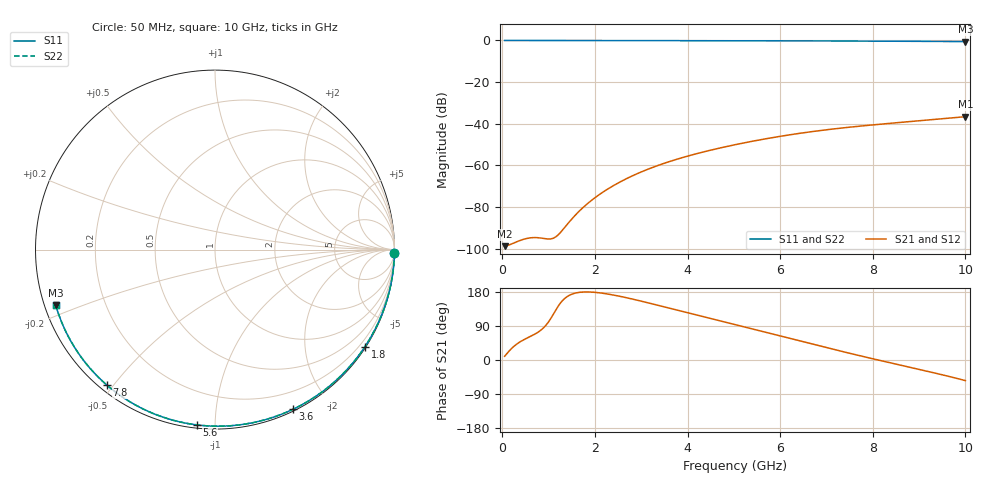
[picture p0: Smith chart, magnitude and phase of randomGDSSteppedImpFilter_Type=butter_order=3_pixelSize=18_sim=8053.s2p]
! freq	dB(S11)	phase(S11)	dB(S12)	phase(S12)
!  dB(S21)	phase(S21)	dB(S22)	phase(S22)
!S-par simulation data
#  GHz  S  DB  R 50
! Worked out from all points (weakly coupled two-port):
!   200 points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, 50 MHz to 10 GHz, reference 50 ohm
!   highest |S21| = -36.59 dB at 10 GHz (marker M1); lowest = -98.7 dB at 50 MHz (marker M2)
!   lowest |S11| = -0.5 dB at 10 GHz (marker M3), VSWR 32.22, Z = 1.6 - j8.45 ohm
!   |S11| at or under -10 dB: nowhere
!   |S22| runs from -0.5 to 0.0 dB; largest |S21 - S12| = 0
!   S11 on the Smith chart (normalised r, x): 50 MHz: open; 1.8 GHz: 0.03, -3.39; 3.6 GHz: 0.02, -1.60; 5.6 GHz: 0.02, -0.90; 7.8 GHz: 0.02, -0.48; 10 GHz: 0.03, -0.17
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0.05  -0.00 -0.9  -98.72 9.8  -98.72 9.8  -0.00 -0.9
0.45  -0.01 -8.4  -95.48 52.6  -95.48 52.6  -0.01 -8.4
0.85  -0.02 -15.7  -94.86 80.5  -94.86 80.5  -0.02 -15.7
1.3  -0.03 -23.9  -91.01 156.8  -91.01 156.8  -0.03 -23.9
1.75  -0.04 -32.0  -80.05 179.4  -80.05 179.4  -0.04 -32.0
1.8  -0.04 -32.9  -79.06 179.6  -79.06 179.6  -0.04 -32.9
2.1  -0.05 -38.2  -73.88 177.2  -73.88 177.2  -0.05 -38.2
2.3  -0.05 -41.8  -70.98 173.6  -70.98 173.6  -0.05 -41.8
2.5  -0.06 -45.3  -68.42 169.0  -68.42 169.0  -0.06 -45.3
2.9  -0.07 -52.2  -64.05 158.2  -64.05 158.2  -0.07 -52.2
3.4  -0.08 -60.7  -59.68 143.2  -59.68 143.2  -0.08 -60.7
3.6  -0.09 -64.0  -58.18 137.0  -58.18 137.0  -0.09 -64.0
4.25  -0.11 -74.7  -54.02 116.9  -54.02 116.9  -0.11 -74.7
5.05  -0.13 -87.4  -49.92 92.6  -49.92 92.6  -0.13 -87.5
5.6  -0.16 -96.0  -47.54 75.8  -47.54 75.8  -0.16 -96.0
6.15  -0.19 -104.3  -45.47 58.9  -45.47 58.9  -0.19 -104.3
6.7  -0.22 -112.5  -43.71 41.9  -43.71 41.9  -0.22 -112.5
7.25  -0.26 -120.6  -42.21 25.2  -42.21 25.2  -0.26 -120.6
7.8  -0.30 -128.6  -40.94 9.0  -40.94 9.0  -0.30 -128.6
8.35  -0.35 -136.5  -39.81 -6.7  -39.81 -6.7  -0.35 -136.6
9.2  -0.44 -148.9  -38.14 -30.4  -38.14 -30.4  -0.44 -148.9
10  -0.54 -160.8  -36.59 -54.4  -36.59 -54.4  -0.54 -160.8
